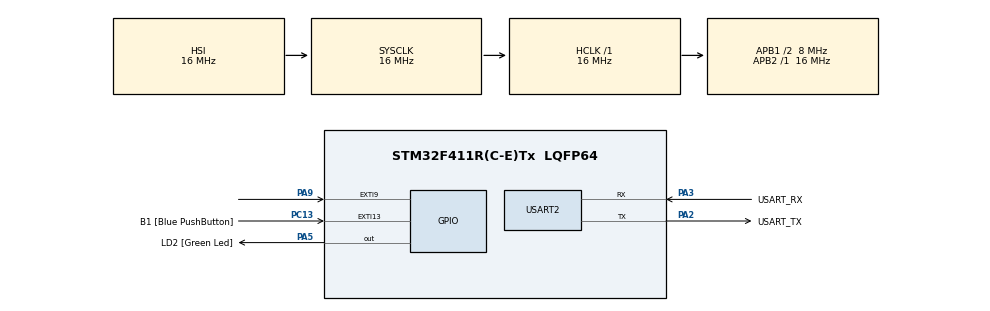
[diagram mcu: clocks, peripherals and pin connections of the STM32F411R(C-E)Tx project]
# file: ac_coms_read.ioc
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Mcu.Family=STM32F4
Mcu.Name=STM32F411R(C-E)Tx
Mcu.Package=LQFP64
NVIC.EXTI9_5_IRQn=true\:0\:0\:false\:false\:true\:true\:true\:true
NVIC.PriorityGroup=NVIC_PRIORITYGROUP_0
NVIC.TIM1_TRG_COM_TIM11_IRQn=true\:0\:0\:false\:false\:true\:true\:true\:true
NVIC.USART2_IRQn=true\:0\:0\:false\:false\:true\:true\:true\:true
PA13.GPIO_Label=TMS
PA13.Mode=Serial_Wire
PA13.Signal=SYS_JTMS-SWDIO
PA14.GPIO_Label=TCK
PA14.Mode=Serial_Wire
PA14.Signal=SYS_JTCK-SWCLK
PA2.GPIO_Label=USART_TX
PA2.Mode=Asynchronous
PA2.Signal=USART2_TX
PA3.GPIO_Label=USART_RX
PA3.Mode=Asynchronous
PA3.Signal=USART2_RX
PA5.GPIO_Label=LD2 [Green Led]
PA5.Signal=GPIO_Output
PA9.GPIO_ModeDefaultEXTI=GPIO_MODE_IT_RISING_FALLING
PA9.Signal=GPXTI9
PB3.GPIO_Label=SWO
PB3.Signal=SYS_JTDO-SWO
PC13-ANTI_TAMP.GPIO_Label=B1 [Blue PushButton]
PC13-ANTI_TAMP.GPIO_ModeDefaultEXTI=GPIO_MODE_IT_FALLING
PC13-ANTI_TAMP.Signal=GPXTI13
PC14-OSC32_IN.Mode=LSE-External-Oscillator
PC14-OSC32_IN.Signal=RCC_OSC32_IN
PC15-OSC32_OUT.Mode=LSE-External-Oscillator
PC15-OSC32_OUT.Signal=RCC_OSC32_OUT
PH0\ -\ OSC_IN.Mode=HSE-External-Clock-Source
PH0\ -\ OSC_IN.Signal=RCC_OSC_IN
PH1\ -\ OSC_OUT.Mode=HSE-External-Clock-Source
PH1\ -\ OSC_OUT.Signal=RCC_OSC_OUT
ProjectManager.HeapSize=0x200
ProjectManager.StackSize=0x400
ProjectManager.TargetToolchain=MDK-ARM V5.32
RCC.48MHZClocksFreq_Value=84000000
RCC.AHBFreq_Value=16000000
RCC.APB1CLKDivider=RCC_HCLK_DIV2
RCC.APB1Freq_Value=8000000
RCC.APB1TimFreq_Value=16000000
RCC.APB2Freq_Value=16000000
RCC.APB2TimFreq_Value=16000000
RCC.CortexFreq_Value=16000000
RCC.FLatency-AdvancedSettings=FLASH_LATENCY_0
RCC.HCLKFreq_Value=16000000
RCC.HSE_VALUE=8000000
RCC.HSI_VALUE=16000000
RCC.PLLN=336
RCC.PLLP=RCC_PLLP_DIV4
RCC.SYSCLKFreq_VALUE=16000000
RCC.VCOOutputFreq_Value=336000000
TIM11.Prescaler=15
USART2.VirtualMode=VM_ASYNC
VP_TIM11_VS_ClockSourceINT.Mode=Enable_Timer
board=NUCLEO-F411RE

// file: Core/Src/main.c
/* USER CODE BEGIN Header */
/**
  ******************************************************************************
  * @file           : main.c
  * @brief          : Main program body
  ******************************************************************************
  * @attention
  *
  * Copyright (c) 2026 STMicroelectronics.
  * All rights reserved.
  *
  * This software is licensed under terms that can be found in the LICENSE file
  * in the root directory of this software component.
  * If no LICENSE file comes with this software, it is provided AS-IS.
  *
  ******************************************************************************
  */
/* USER CODE END Header */
#include "main.h"

/* USER CODE BEGIN Includes */
#include <stdio.h>
#include <stdbool.h>
#include <stdint.h>
/* USER CODE END Includes */

/* USER CODE BEGIN PTD */
typedef enum {
       LOG_INFO,
       LOG_SEQ
}log_state_t;
/* USER CODE END PTD */

/* USER CODE BEGIN PD */
#define BUFF_SIZE 100
/* USER CODE END PD */

TIM_HandleTypeDef htim11;

UART_HandleTypeDef huart2;

/* USER CODE BEGIN PV */
volatile bool read_flag = 0;
volatile uint16_t pulse_index = 0;
volatile uint16_t pulse_width[500];
volatile bool data_ready = 0;
volatile uint8_t rx_char;
/* USER CODE END PV */

void SystemClock_Config(void);
static void MX_GPIO_Init(void);
static void MX_USART2_UART_Init(void);
static void MX_TIM11_Init(void);

int main(void)
{

  /* USER CODE BEGIN 1 */
    uint8_t tx_buffer[BUFF_SIZE];
    uint16_t msg_length;
    log_state_t state = LOG_INFO;
    uint8_t erase_seq[3] = {'\b', ' ', '\b'};
    uint8_t delta_time[10];
    uint8_t no_data_msg[50];
		uint8_t newline_msg[] = {'\r', '\n'};

  /* USER CODE END 1 */

  /* MCU Configuration--------------------------------------------------------*/

  /* Reset of all peripherals, Initializes the Flash interface and the Systick. */
  HAL_Init();

  /* Configure the system clock */
  SystemClock_Config();

  /* Initialize all configured peripherals */
  MX_GPIO_Init();
  MX_USART2_UART_Init();
  MX_TIM11_Init();

  /* USER CODE BEGIN 2 */
	HAL_UART_Receive_IT(&huart2, &rx_char, 1); //Receive intrp for software reset from .py file

  msg_length = sprintf(tx_buffer, "System Initialized.....Start Logging In The signals!\r\n");
  HAL_UART_Transmit_IT(&huart2, tx_buffer, msg_length);
  HAL_UART_Receive_IT(&huart2, &rx_char, 1);
  /* USER CODE END 2 */

  /* Infinite loop */
  /* USER CODE BEGIN WHILE */
  while (1)
  {
		  if(data_ready) {
        for(int i = 0; i < pulse_index; i++){
          msg_length = sprintf(delta_time, "%u ", pulse_width[i]);
          HAL_UART_Transmit(&huart2, delta_time, msg_length,10);
        }
				 HAL_UART_Transmit(&huart2, newline_msg, 2,10);
        data_ready = 0;
      }

    __WFI();

    /* USER CODE END WHILE */

  }
}

void SystemClock_Config(void)
{
  RCC_OscInitTypeDef RCC_OscInitStruct = {0};
  RCC_ClkInitTypeDef RCC_ClkInitStruct = {0};

  /** Configure the main internal regulator output voltage
  */
  __HAL_RCC_PWR_CLK_ENABLE();
  __HAL_PWR_VOLTAGESCALING_CONFIG(PWR_REGULATOR_VOLTAGE_SCALE1);

  /** Initializes the RCC Oscillators according to the specified parameters
  * in the RCC_OscInitTypeDef structure.
  */
  RCC_OscInitStruct.OscillatorType = RCC_OSCILLATORTYPE_HSI;
  RCC_OscInitStruct.HSIState = RCC_HSI_ON;
  RCC_OscInitStruct.HSICalibrationValue = RCC_HSICALIBRATION_DEFAULT;
  RCC_OscInitStruct.PLL.PLLState = RCC_PLL_NONE;
  if (HAL_RCC_OscConfig(&RCC_OscInitStruct) != HAL_OK)
  {
    Error_Handler();
  }

  /** Initializes the CPU, AHB and APB buses clocks
  */
  RCC_ClkInitStruct.ClockType = RCC_CLOCKTYPE_HCLK|RCC_CLOCKTYPE_SYSCLK
                              |RCC_CLOCKTYPE_PCLK1|RCC_CLOCKTYPE_PCLK2;
  RCC_ClkInitStruct.SYSCLKSource = RCC_SYSCLKSOURCE_HSI;
  RCC_ClkInitStruct.AHBCLKDivider = RCC_SYSCLK_DIV1;
  RCC_ClkInitStruct.APB1CLKDivider = RCC_HCLK_DIV2;
  RCC_ClkInitStruct.APB2CLKDivider = RCC_HCLK_DIV1;

  if (HAL_RCC_ClockConfig(&RCC_ClkInitStruct, FLASH_LATENCY_0) != HAL_OK)
  {
    Error_Handler();
  }
}

static void MX_TIM11_Init(void)
{

  htim11.Instance = TIM11;
  htim11.Init.Prescaler = 15;
  htim11.Init.CounterMode = TIM_COUNTERMODE_UP;
  htim11.Init.Period = 65535;
  htim11.Init.ClockDivision = TIM_CLOCKDIVISION_DIV1;
  htim11.Init.AutoReloadPreload = TIM_AUTORELOAD_PRELOAD_DISABLE;
  if (HAL_TIM_Base_Init(&htim11) != HAL_OK)
  {
    Error_Handler();
  }

}

static void MX_USART2_UART_Init(void)
{

  huart2.Instance = USART2;
  huart2.Init.BaudRate = 115200;
  huart2.Init.WordLength = UART_WORDLENGTH_8B;
  huart2.Init.StopBits = UART_STOPBITS_1;
  huart2.Init.Parity = UART_PARITY_NONE;
  huart2.Init.Mode = UART_MODE_TX_RX;
  huart2.Init.HwFlowCtl = UART_HWCONTROL_NONE;
  huart2.Init.OverSampling = UART_OVERSAMPLING_16;
  if (HAL_UART_Init(&huart2) != HAL_OK)
  {
    Error_Handler();
  }

}

static void MX_GPIO_Init(void)
{
  GPIO_InitTypeDef GPIO_InitStruct = {0};

  /* GPIO Ports Clock Enable */
  __HAL_RCC_GPIOC_CLK_ENABLE();
  __HAL_RCC_GPIOH_CLK_ENABLE();
  __HAL_RCC_GPIOA_CLK_ENABLE();
  __HAL_RCC_GPIOB_CLK_ENABLE();

  /*Configure GPIO pin Output Level */
  HAL_GPIO_WritePin(LD2_GPIO_Port, LD2_Pin, GPIO_PIN_RESET);

  /*Configure GPIO pin : B1_Pin */
  GPIO_InitStruct.Pin = B1_Pin;
  GPIO_InitStruct.Mode = GPIO_MODE_IT_FALLING;
  GPIO_InitStruct.Pull = GPIO_NOPULL;
  HAL_GPIO_Init(B1_GPIO_Port, &GPIO_InitStruct);

  /*Configure GPIO pin : LD2_Pin */
  GPIO_InitStruct.Pin = LD2_Pin;
  GPIO_InitStruct.Mode = GPIO_MODE_OUTPUT_PP;
  GPIO_InitStruct.Pull = GPIO_NOPULL;
  GPIO_InitStruct.Speed = GPIO_SPEED_FREQ_LOW;
  HAL_GPIO_Init(LD2_GPIO_Port, &GPIO_InitStruct);

  /*Configure GPIO pin : PA9 */
  GPIO_InitStruct.Pin = GPIO_PIN_9;
  GPIO_InitStruct.Mode = GPIO_MODE_IT_RISING_FALLING;
  GPIO_InitStruct.Pull = GPIO_NOPULL;
  HAL_GPIO_Init(GPIOA, &GPIO_InitStruct);

  /* EXTI interrupt init*/
  HAL_NVIC_SetPriority(EXTI9_5_IRQn, 0, 0);
  HAL_NVIC_EnableIRQ(EXTI9_5_IRQn);

}

/* USER CODE BEGIN 4 */
//INPUT PIN 9 INTERRUPT CALLBACK FUNCTION
//This function mesures the pulse width of the received IR signal
void HAL_GPIO_EXTI_Callback(uint16_t GPIO_Pin){

  HAL_TIM_Base_Start_IT(&htim11);  //enable timer interrupts

  if(GPIO_Pin == GPIO_PIN_9){ //If intrp was casued by our IR input signal

     if(read_flag == 0){
       read_flag = 1; //Set the flag one for the next read
       __HAL_TIM_SET_COUNTER(&htim11, 0); //Reset the timer counter to 0
       pulse_index = 0;
     }

     else if(read_flag == 1){
        pulse_width[pulse_index] = __HAL_TIM_GET_COUNTER(&htim11); //Get the timer cntr value
        __HAL_TIM_SET_COUNTER(&htim11, 0); //Reset the timer counter to 0

        if(pulse_index < 799) pulse_index++; //Only increment if we are within limits

     }
  }
}

//TIMER INTERRUPT TO CAPTURE THE END OF THE MESSAGE
//TIMER INTERRUPT TO CAPTURE THE END OF THE MESSAGE
void HAL_TIM_PeriodElapsedCallback(TIM_HandleTypeDef *htim){

  if (htim->Instance == TIM11) //Chek if its our timer
  {
      HAL_TIM_Base_Stop_IT(&htim11); // Disable timer interrupts

      if(pulse_index >= 10){
        data_ready = 1;
      }

      read_flag = 0;
  }
}

//UART RECEIVE CALLBACK FOR SOFTWARE RESET
void HAL_UART_RxCpltCallback(UART_HandleTypeDef *huart) {

	if(huart -> Instance == USART2){
		if(rx_char == 'r' || rx_char == 'R')  NVIC_SystemReset();

		else HAL_UART_Receive_IT(&huart2, &rx_char, 1);
	}
}

/* USER CODE END 4 */

void Error_Handler(void)
{
  __disable_irq();
  while (1)
  {
  }
}
